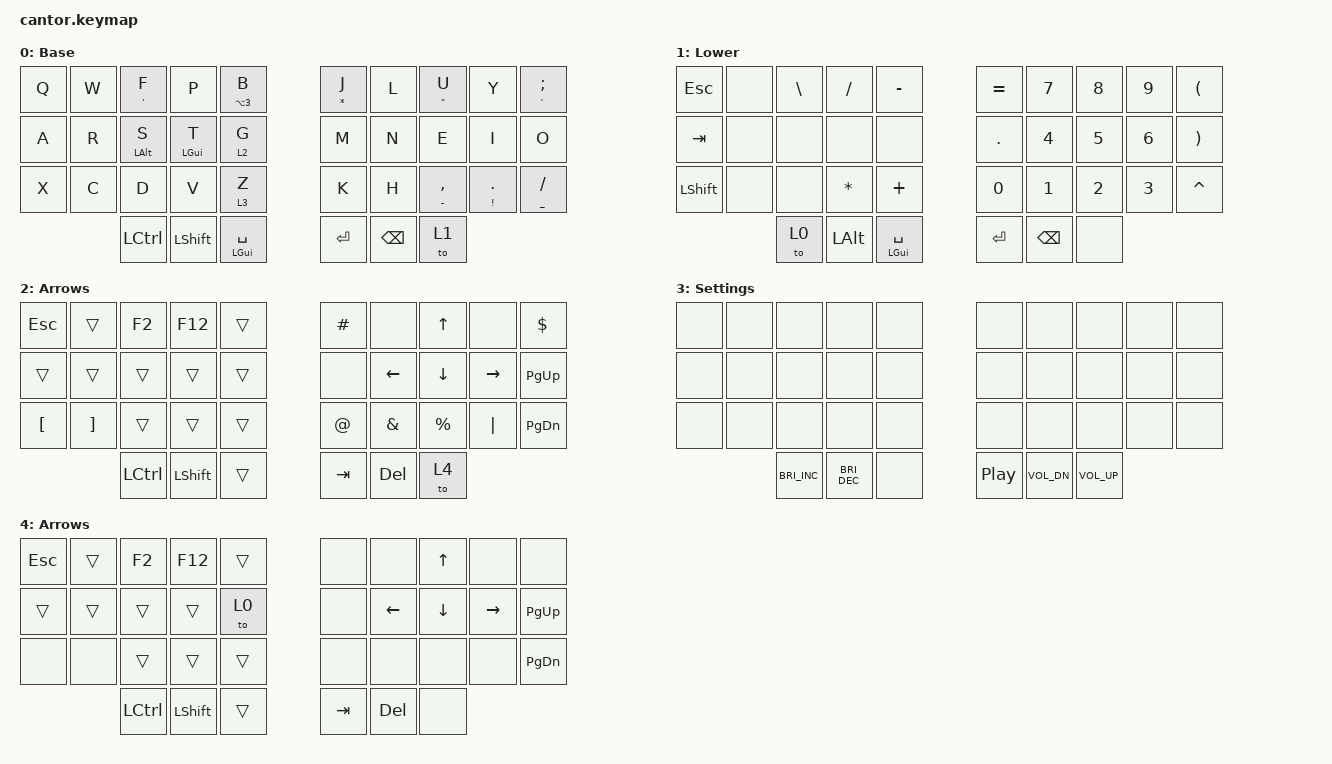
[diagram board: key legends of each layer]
/*
 * Copyright (c) 2020 The ZMK Contributors
 *
 * SPDX-License-Identifier: MIT
 *
 * Cantor keymap – identical to the Corne 5-col layout (Colemak-DH).
 * Bluetooth bindings replaced with &none (wired keyboard).
 */

#include <behaviors.dtsi>
#include <dt-bindings/zmk/keys.h>

&mt {
    flavor = "tap-preferred";
    tapping-term-ms = <200>;
};

// ╭──────────────────────────────────────────────────────╮
// │  Layer Definitions                                   │
// ╰──────────────────────────────────────────────────────╯
#define BASE     0
#define LOWER    1
#define ARROW    2
#define SETTINGS 3
#define ARROW_STAY 4


/ {
    behaviors {
        hm: homerow_mods {
            compatible = "zmk,behavior-hold-tap";
            #binding-cells = <2>;
            tapping-term-ms = <200>;
            quick-tap-ms = <0>;
            flavor = "tap-preferred";
            bindings = <&kp>, <&kp>;
        };
    };

    combos {
        compatible = "zmk,combos";
    };

    keymap {
        compatible = "zmk,keymap";

        // ╭──────────────────────────────────────────────────────╮
        // │  Layer 0: BASE  (Colemak-DH)                        │
        // ╰──────────────────────────────────────────────────────╯
        default_layer {
            display-name = "Base";
            bindings = <
        // ╭──────────┬──────────┬──────────┬──────────┬──────────╮   ╭──────────────┬──────────┬──────────┬──────────┬──────────────────╮
        // │  Q       │  W       │  F / '   │  P       │  B / #   │   │  J / *       │  L       │  U / "   │  Y       │  ; / `           │
             &kp Q      &kp W      &mt SQT F  &kp P      &mt LA(N3) B   &mt ASTRK J    &kp L      &mt DQT U  &kp Y      &hm GRAVE SEMI
        // ├──────────┼──────────┼──────────┼──────────┼──────────┤   ├──────────────┼──────────┼──────────┼──────────┼──────────────────┤
        // │  A       │  R       │  S / Alt │  T / Cmd │  G → L2  │   │  M           │  N       │  E       │  I       │  O               │
             &kp A      &kp R      &hm LALT S &hm LGUI T &lt 2 G        &kp M          &kp N      &kp E      &kp I      &kp O
        // ├──────────┼──────────┼──────────┼──────────┼──────────┤   ├──────────────┼──────────┼──────────┼──────────┼──────────────────┤
        // │  X       │  C       │  D       │  V       │  Z → L3  │   │  K           │  H       │  , / -   │  . / !   │  / / _           │
             &kp X      &kp C      &kp D      &kp V      &lt 3 Z        &kp K          &kp H      &mt MINUS COMMA &mt EXCL DOT &mt UNDERSCORE FSLH
        // ╰──────────┴──────────┼──────────┼──────────┼──────────┤   ├──────────────┼──────────┼──────────┼──────────┴──────────────────╯
        //                       │  Ctrl    │  Shift   │ Spc /Cmd │   │  Return      │  Bksp    │  → L1    │
                                   &kp LCTRL  &kp LSHIFT &mt LGUI SPACE &kp RET        &kp BSPC   &to 1
        //                       ╰──────────┴──────────┴──────────╯   ╰──────────────┴──────────┴──────────╯
            >;
        };

        // ╭──────────────────────────────────────────────────────╮
        // │  Layer 1: LOWER  (Numbers + Media)                  │
        // ╰──────────────────────────────────────────────────────╯
        lower_layer {
            display-name = "Lower";
            bindings = <
        // ╭──────────────┬──────────────┬──────────────┬──────────────┬──────────────╮   ╭──────────┬──────────┬──────────┬──────────┬──────────╮
        // │  Esc         │  none        │   \          │  /           │  -           │   │  =       │  7       │  8       │  9       │  (       │
             &kp ESC        &none          &kp BSLH       &kp FSLH       &kp MINUS          &kp EQUAL  &kp N7     &kp N8     &kp N9     &kp LPAR
        // ├──────────────┼──────────────┼──────────────┼──────────────┼──────────────┤   ├──────────┼──────────┼──────────┼──────────┼──────────┤
        // │  Tab         │  none        │  none        │  none        │  none        │   │  .       │  4       │  5       │  6       │  )       │
             &kp TAB        &none          &none          &none          &none              &kp DOT    &kp N4     &kp N5     &kp N6     &kp RPAR
        // ├──────────────┼──────────────┼──────────────┼──────────────┼──────────────┤   ├──────────┼──────────┼──────────┼──────────┼──────────┤
        // │  Shift       │  none        │  none        │  *           │  +           │   │  0       │  1       │  2       │  3       │  ^       │
             &kp LSHIFT     &none          &none          &kp ASTRK      &kp PLUS           &kp N0     &kp N1     &kp N2     &kp N3     &kp CARET
        // ╰──────────────┴──────────────┼──────────────┼──────────────┼──────────────┤   ├──────────┼──────────┼──────────┼──────────┴──────────╯
        //                               │  → BASE      │  Alt         │ Spc / Cmd    │   │  Return  │  Bksp    │  none       │
                                           &to 0          &kp LALT       &mt LGUI SPACE     &kp RET    &kp BSPC   &none
        //                               ╰──────────────┴──────────────┴──────────────╯   ╰──────────┴──────────┴──────────╯
            >;
        };


        // ╭──────────────────────────────────────────────────────╮
        // │  Layer 2: ARROW  (Quick Arrows via G hold)          │
        // ╰──────────────────────────────────────────────────────╯
        arrow_layer {
            display-name = "Arrows";
            bindings = <
        // ╭──────────┬──────────┬──────────┬──────────┬──────────╮   ╭──────────────┬──────────────┬──────────────┬──────────────┬──────────╮
        // │  Esc     │  trans   │  F2      │  F12   │  trans   │   │  £           │  none        │  Up          │  none        │       $    │
             &kp ESC    &trans     &kp F2     &kp F12    &trans         &kp HASH          &none          &kp UP_ARROW   &none          &kp DLLR
        // ├──────────┼──────────┼──────────┼──────────┼──────────┤   ├──────────────┼──────────────┼──────────────┼──────────────┼──────────┤
        // │  trans   │  trans   │  trans   │  trans   │  trans   │   │  none        │  Left        │  Down        │  Right       │  Page Up    │
             &trans     &trans     &trans     &trans     &trans         &none          &kp LEFT_ARROW &kp DOWN_ARROW &kp RIGHT_ARROW &kp PG_UP
        // ├──────────┼──────────┼──────────┼──────────┼──────────┤   ├──────────────┼──────────────┼──────────────┼──────────────┼──────────┤
        // │   [      │   ]      │  trans   │  trans   │  trans   │   │     @        │  &           │  %           │  |          │  Page Down    │
             &kp LBKT   &kp RBKT    &trans     &trans     &trans         &kp AT         &kp AMPS       &kp PRCNT      &kp PIPE      &kp PG_DN
        // ╰──────────┴──────────┼──────────┼──────────┼──────────┤   ├──────────────┼──────────────┼──────────────┼──────────────┴──────────╯
        //                       │  Ctrl  │   shift  │  trans   │    │  Tab         │  Delete      │  → ARROW_STAY  │
                                     &kp LCTRL  &kp LSHIFT    &trans         &kp TAB        &kp DEL        &to 4
        //                       ╰──────────┴──────────┴──────────╯   ╰──────────────┴──────────────┴──────────────╯
            >;
        };

        // ╭──────────────────────────────────────────────────────╮
        // │  Layer 3: SETTINGS  (Media – no BT on wired board)  │
        // ╰──────────────────────────────────────────────────────╯
        settings_layer {
            display-name = "Settings";
            bindings = <
        // ╭──────────────┬──────────────┬──────────────┬──────────────┬──────────────╮   ╭──────────────┬──────────┬──────────┬──────────────┬──────────────╮
        // │  none        │  none        │  none        │  none        │  none        │   │  none        │  none    │  none    │  none        │  none        │
             &none          &none          &none          &none          &none              &none          &none      &none      &none          &none
        // ├──────────────┼──────────────┼──────────────┼──────────────┼──────────────┤   ├──────────────┼──────────┼──────────┼──────────────┼──────────────┤
        // │  none        │  none        │  none        │  none        │  none        │   │  none        │  none    │  none    │  none        │  none        │
             &none          &none          &none          &none          &none              &none          &none      &none      &none          &none
        // ├──────────────┼──────────────┼──────────────┼──────────────┼──────────────┤   ├──────────────┼──────────┼──────────┼──────────────┼──────────────┤
        // │  none        │  none        │  none        │  none        │  none        │   │  none        │  none    │  none    │  none        │  none        │
             &none          &none          &none          &none          &none              &none          &none      &none      &none          &none
        // ╰──────────────┴──────────────┼──────────────┼──────────────┼──────────────┤   ├──────────────┼──────────┼──────────┼──────────────┴──────────────╯
        //                               │  Bright +    │  Bright -    │  none        │   │  Play/Pause  │ Vol Down │ Vol Up   │
                                          &kp C_BRI_INC  &kp C_BRI_DEC   &none              &kp C_PP &kp C_VOL_DN &kp C_VOL_UP
        //                               ╰──────────────┴──────────────┴──────────────╯   ╰──────────────┴──────────┴──────────╯
            >;
        };

        // ╭──────────────────────────────────────────────────────╮
        // │  Layer 4: ARROW_STAY  (Persistent Arrows)           │
        // ╰──────────────────────────────────────────────────────╯
        arrow_stay_layer {
            display-name = "Arrows";
            bindings = <
        // ╭──────────┬──────────┬──────────┬──────────┬──────────╮   ╭──────────────┬──────────────┬──────────────┬──────────────┬──────────╮
        // │  Esc     │  trans   │  F2      │  F12   │  trans   │   │  none        │  none        │  Up          │  none        │       none    │
             &kp ESC    &trans     &kp F2     &kp F12    &trans         &none          &none          &kp UP_ARROW   &none          &none
        // ├──────────┼──────────┼──────────┼──────────┼──────────┤   ├──────────────┼──────────────┼──────────────┼──────────────┼──────────┤
        // │  trans   │  trans   │  trans   │  trans   │  BASE    │   │  none        │  Left        │  Down        │  Right       │  Page Up    │
             &trans     &trans     &trans     &trans     &to 0         &none          &kp LEFT_ARROW &kp DOWN_ARROW &kp RIGHT_ARROW &kp PG_UP
        // ├──────────┼──────────┼──────────┼──────────┼──────────┤   ├──────────────┼──────────────┼──────────────┼──────────────┼──────────┤
        // │   none   │   none   │  trans   │  trans   │  trans   │   │     none       │  none        │  none        │  none        │  Page Down    │
             &none      &none      &trans     &trans     &trans         &none         &none         &none         &none         &kp PG_DN
        // ╰──────────┴──────────┼──────────┼──────────┼──────────┤   ├──────────────┼──────────────┼──────────────┼──────────────┴──────────╯
        //                       │  Ctrl  │   shift  │  trans   │   │  Tab         │  Delete      │  none      │
                                   &kp LCTRL  &kp LSHIFT    &trans         &kp TAB        &kp DEL        &none
        //                       ╰──────────┴──────────┴──────────╯   ╰──────────────┴──────────────┴──────────────╯
            >;
        };
    };


};
